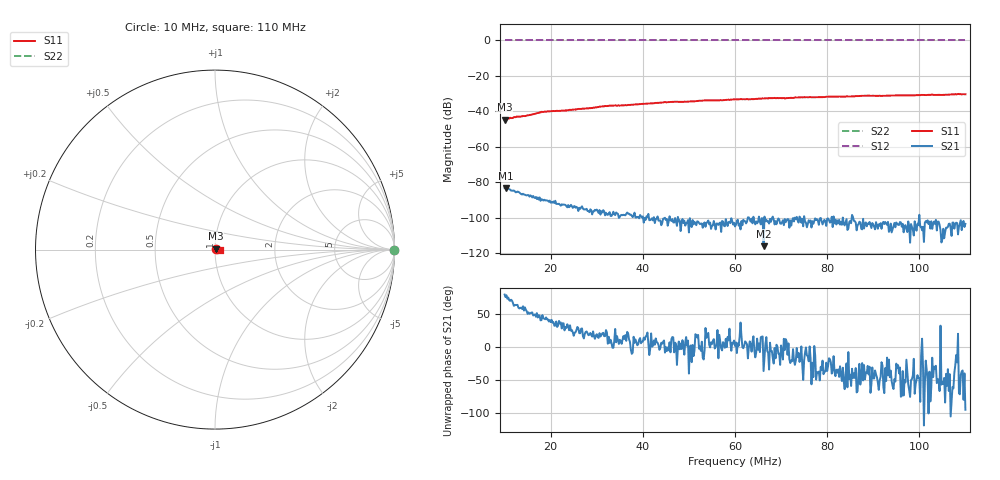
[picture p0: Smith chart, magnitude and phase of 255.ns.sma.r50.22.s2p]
! Anritsu VNA Master:  Model: MS2036C/10/77
! SN:  1601066
! /card0/usr/255.ns.sma.r50.22.s2p
! Existing Calibration Information:
! TYPE:  Current Settings,  Active Cal Settings
! TIME:  12/19/2017 07:17:10 PM,  12/19/2017 06:59:48 PM
! INTERNAL TEMP:  40.0 C,  39.3 C
! # POINTS:  501,  501
! START FREQ:  10.000 MHz,  10.000 MHz
! STOP FREQ:  110.000 MHz,  110.000 MHz
! SOURCE POWER:  High,  High
! IFBW:  100 Hz,  100 Hz
! AVG FACTOR:  1 ,  1
! REF PLANE 1:  0 mm,  0 mm
! REF PLANE 2:  0 mm,  0 mm
! CAL TYPE:  Full S11,  Full S11
! CAL METHOD:  SOLT,  SOLT
! CAL LINE TYPE:  Coax,  Coax
! DUT PORT 1:  N-Conn(F),  N-Conn(F)
! DUT PORT 2:  K-Conn(F),  K-Conn(F)
! CAL STATUS:  OK: Accuracy High,  --
# GHZ S DB R 50.0
! FREQ.GHZ  S11DB  S11A  S21DB  S21A  S12DB  S12A  S22DB  S22A
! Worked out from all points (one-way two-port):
!   501 points, 10 MHz to 110 MHz, reference 50 ohm
!   highest |S21| = -83.33 dB at 10.2 MHz (marker M1); lowest = -116.2 dB at 66.2 MHz (marker M2)
!   lowest |S11| = -44.8 dB at 10 MHz (marker M3), VSWR 1.01, Z = 50.3 + j0.502 ohm
!   |S11| at or under -10 dB: start of sweep to end of sweep
!   |S22| runs from 0.0 to 0.0 dB; largest |S21 - S12| = 1
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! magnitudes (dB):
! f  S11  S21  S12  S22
! 10 MHz  -44.8  -83.4  0.0  0.0
! 10.2 MHz  -44.7  -83.3  0.0  0.0
! 12.4 MHz  -43.3  -85.7  0.0  0.0
! 14.6 MHz  -42.6  -87.4  0.0  0.0
! 18.4 MHz  -40.4  -90.4  0.0  0.0
! 23 MHz  -39.7  -92.8  0.0  0.0
! 26.8 MHz  -38.6  -93.7  0.0  0.0
! 29 MHz  -38.2  -98.2  0.0  0.0
! 32.2 MHz  -37.1  -98.3  0.0  0.0
! 36 MHz  -36.5  -98.6  0.0  0.0
! 43.4 MHz  -35.2  -101.8  0.0  0.0
! 46.6 MHz  -34.6  -102.7  0.0  0.0
! 49 MHz  -34.6  -101.8  0.0  0.0
! 53.4 MHz  -33.8  -102.7  0.0  0.0
! 57.4 MHz  -33.7  -102.2  0.0  0.0
! 60 MHz  -33.3  -105.0  0.0  0.0
! 63.8 MHz  -33.1  -103.2  0.0  0.0
! 66.2 MHz  -32.8  -116.2  0.0  0.0
! 76.8 MHz  -32.1  -102.1  0.0  0.0
! 87.8 MHz  -31.3  -100.7  0.0  0.0
! 93.4 MHz  -31.1  -108.1  0.0  0.0
! 110 MHz  -30.4  -103.5  0.0  0.0
